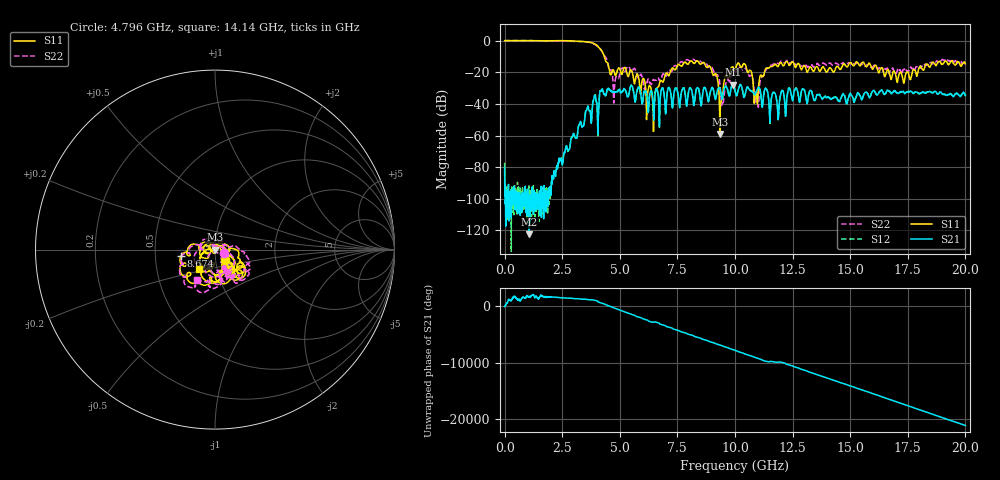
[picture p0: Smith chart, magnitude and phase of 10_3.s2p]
#  HZ  S  RI  R  50.00
! Rohde & Schwarz Vector Network Analyzer
! Rohde-Schwarz,ZNB20-2Port,1311601062102128,3.60
! Created: UTC 4/29/2024, 2:55:40 PM
! freq[Hz]  re:S11  im:S11  re:S21  im:S21  re:S12  im:S12  re:S22  im:S22
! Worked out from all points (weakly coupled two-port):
!   2007 points, 100 kHz to 20 GHz, reference 50 ohm
!   highest |S21| = -27.80 dB at 9.9 GHz (marker M1); lowest = -122.5 dB at 1.067 GHz (marker M2)
!   lowest |S11| = -59.0 dB at 9.342 GHz (marker M3), VSWR 1.00, Z = 49.9 - j0.0546 ohm
!   |S11| at or under -10 dB: 4.326 GHz to end of sweep
!   |S22| runs from -42.1 to 0.1 dB; largest |S21 - S12| = 0.0028
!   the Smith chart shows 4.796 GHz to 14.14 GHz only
!   S11 on the Smith chart (normalised r, x): 4.796 GHz: 1.11, -0.13; 8.674 GHz: 0.68, -0.05; 14.14 GHz: 0.82, -0.18
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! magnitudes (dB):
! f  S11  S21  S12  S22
! 100 kHz  0.0  -80.4  -77.1  0.1
! 1.067 GHz  0.1  -122.5  -99.7  0.0
! 2.223 GHz  -0.1  -82.6  -82.2  -0.3
! 3.34 GHz  -0.6  -54.0  -53.5  -0.6
! 4.158 GHz  -5.5  -31.7  -31.5  -5.2
! 4.796 GHz  -21.9  -32.6  -32.5  -25.6
! 5.354 GHz  -22.7  -35.4  -35.4  -16.4
! 6.451 GHz  -46.7  -42.4  -42.3  -24.6
! 6.67 GHz  -29.2  -35.2  -35.2  -23.6
! 8.674 GHz  -14.3  -29.6  -29.6  -14.1
! 9.173 GHz  -21.1  -36.5  -36.4  -22.3
! 9.342 GHz  -59.0  -30.3  -30.2  -27.3
! 9.482 GHz  -31.4  -34.0  -34.2  -39.1
! 9.9 GHz  -16.6  -27.8  -27.8  -19.4
! 10 GHz  -18.6  -31.6  -31.6  -19.6
! 10.67 GHz  -18.9  -31.5  -31.7  -22.3
! 10.91 GHz  -33.4  -32.8  -32.8  -35.2
! 11.43 GHz  -17.4  -33.0  -33.1  -17.2
! 13.34 GHz  -18.0  -32.7  -32.7  -15.3
! 14.14 GHz  -17.2  -36.4  -36.7  -14.1
! 16.67 GHz  -19.1  -31.9  -32.0  -20.6
! 20 GHz  -14.6  -34.7  -35.0  -14.4
